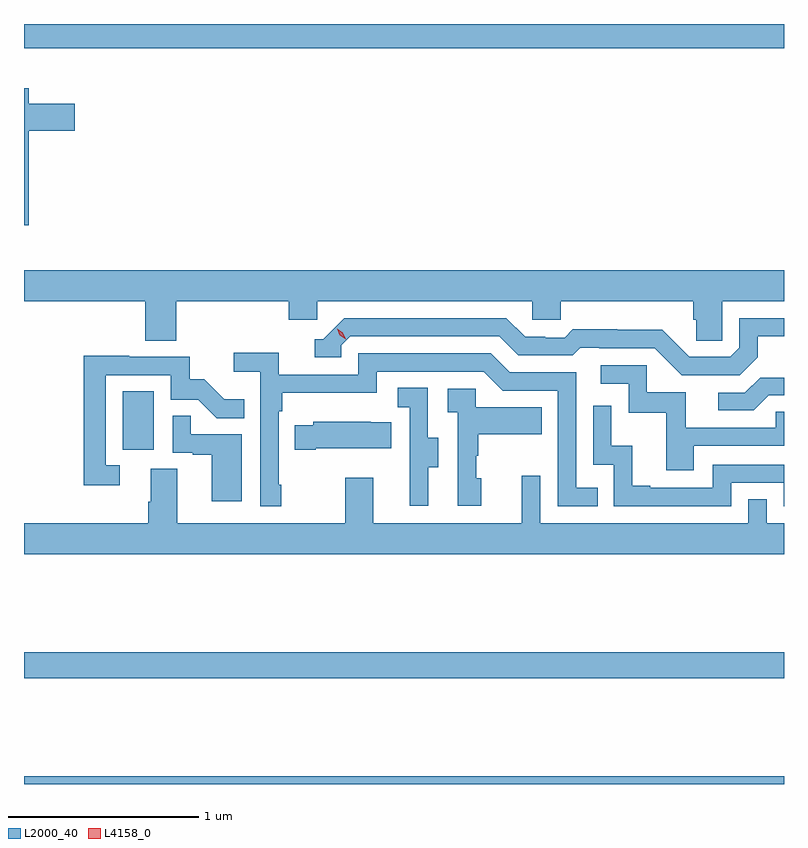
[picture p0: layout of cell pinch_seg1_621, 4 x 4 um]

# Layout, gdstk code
import gdstk
lib = gdstk.Library(unit=1e-6, precision=1e-09)
def R(c, l, rs):  # rectangles x0, y0, x1, y1
    for r in rs: c.add(gdstk.rectangle(r[:2], r[2:], *l))
def P(c, l, *ps):  # polygons
    for p in ps: c.add(gdstk.Polygon(p, *l))
L2000_40 = (2000, 40)
L4158_0 = (4158, 0)

pinch_seg1_621 = lib.new_cell('pinch_seg1_621')
R(pinch_seg1_621, L2000_40, [(1118.956,514.559,1122.956,514.6), (1118.956,515.116,1122.956,515.252), (1119.476,516.318,1119.64,516.625), (1118.956,518.432,1122.956,518.559)])
P(pinch_seg1_621, L2000_40, [(1118.98,517.996),(1119.223,517.996),(1119.223,518.139),(1118.98,518.139),(1118.98,518.221),(1118.956,518.221),(1118.956,517.5),(1118.98,517.5)],
  [(1119.758,517.1),(1120.349,517.1),(1120.349,517.002),(1120.5,517.002),(1120.5,517.1),(1121.631,517.1),(1121.631,517.002),(1121.781,517.002),(1121.781,517.1),(1122.479,517.1),(1122.479,517.002),(1122.493,517.002),(1122.493,516.892),(1122.63,516.892),(1122.63,517.1),(1122.956,517.1),(1122.956,517.264),(1118.956,517.264),(1118.956,517.1),(1119.593,517.1),(1119.593,516.892),(1119.758,516.892)],
  [(1122.817,516.805),(1122.817,516.915),(1122.956,516.915),(1122.956,517.011),(1122.72,517.011),(1122.72,516.855),(1122.672,516.807),(1122.456,516.807),(1122.314,516.949),(1122.078,516.949),(1122.078,516.952),(1121.845,516.952),(1121.803,516.909),(1121.7,516.909),(1121.7,516.912),(1121.593,516.912),(1121.494,517.011),(1120.641,517.011),(1120.53,516.9),(1120.487,516.9),(1120.487,516.804),(1120.626,516.804),(1120.626,516.867),(1120.674,516.915),(1121.457,516.915),(1121.556,516.816),(1121.845,516.816),(1121.884,516.855),(1121.983,516.855),(1121.983,516.852),(1122.276,516.852),(1122.417,516.711),(1122.723,516.711)],
  [(1120.309,516.133),(1120.296,516.133),(1120.296,516.521),(1120.316,516.521),(1120.316,516.617),(1120.812,516.617),(1120.812,516.729),(1121.376,516.729),(1121.475,516.63),(1121.766,516.63),(1121.766,516.021),(1121.975,516.021),(1121.975,516.117),(1121.862,516.117),(1121.862,516.726),(1121.512,516.726),(1121.413,516.825),(1120.716,516.825),(1120.716,516.714),(1120.298,516.714),(1120.298,516.83),(1120.059,516.83),(1120.059,516.728),(1120.2,516.728),(1120.2,516.02),(1120.309,516.02)],
  [(1119.46,516.237),(1119.387,516.237),(1119.387,516.711),(1119.729,516.711),(1119.729,516.582),(1119.873,516.582),(1119.971,516.484),(1120.115,516.484),(1120.115,516.583),(1120.011,516.583),(1119.904,516.69),(1119.828,516.69),(1119.828,516.807),(1119.509,516.807),(1119.509,516.812),(1119.271,516.812),(1119.271,516.132),(1119.46,516.132)],
  [(1122.481,516.339),(1122.956,516.339),(1122.956,516.519),(1122.913,516.519),(1122.913,516.435),(1122.439,516.435),(1122.439,516.621),(1122.234,516.621),(1122.234,516.762),(1121.991,516.762),(1121.991,516.666),(1122.138,516.666),(1122.138,516.513),(1122.337,516.513),(1122.337,516.21),(1122.481,516.21)],
  [(1122.877,516.606),(1122.956,516.606),(1122.956,516.698),(1122.83,516.698),(1122.75,516.618),(1122.609,516.618),(1122.609,516.525),(1122.796,516.525)],
  [(1121.083,516.226),(1121.137,516.226),(1121.137,516.381),(1121.082,516.381),(1121.082,516.644),(1120.923,516.644),(1120.923,516.541),(1120.986,516.541),(1120.986,516.237),(1120.985,516.237),(1120.985,516.024),(1121.083,516.024)],
  [(1121.362,516.168),(1121.337,516.168),(1121.337,516.287),(1121.347,516.287),(1121.347,516.401),(1121.681,516.401),(1121.681,516.541),(1121.334,516.541),(1121.334,516.639),(1121.187,516.639),(1121.187,516.515),(1121.238,516.515),(1121.238,516.024),(1121.362,516.024)],
  [(1122.678,516.144),(1122.954,516.144),(1122.954,516.021),(1122.956,516.021),(1122.956,516.24),(1122.582,516.24),(1122.582,516.117),(1122.253,516.117),(1122.253,516.13),(1122.158,516.13),(1122.158,516.338),(1122.048,516.338),(1122.048,516.55),(1121.952,516.55),(1121.952,516.24),(1122.06,516.24),(1122.06,516.021),(1122.678,516.021)],
  [(1120.102,516.399),(1119.833,516.399),(1119.833,516.497),(1119.738,516.497),(1119.738,516.303),(1119.845,516.303),(1119.845,516.291),(1119.944,516.291),(1119.944,516.048),(1120.102,516.048)],
  [(1120.492,516.326),(1120.889,516.326),(1120.889,516.463),(1120.781,516.463),(1120.781,516.466),(1120.479,516.466),(1120.479,516.448),(1120.381,516.448),(1120.381,516.319),(1120.492,516.319)],
  [(1122.956,515.932),(1122.864,515.932),(1122.864,516.059),(1122.768,516.059),(1122.768,515.932),(1121.673,515.932),(1121.673,516.181),(1121.576,516.181),(1121.576,515.932),(1120.795,515.932),(1120.795,516.172),(1120.648,516.172),(1120.648,515.932),(1119.763,515.932),(1119.763,516.218),(1119.623,516.218),(1119.623,516.044),(1119.611,516.044),(1119.611,515.932),(1118.956,515.932),(1118.956,515.768),(1122.956,515.768)])
P(pinch_seg1_621, L4158_0, [(1120.649,516.9),(1120.619,516.921),(1120.604,516.954),(1120.604,516.954),(1120.604,516.954),(1120.634,516.934),(1120.649,516.901),(1120.649,516.9)])

lib.write_gds('pinch_seg1_621.gds')
